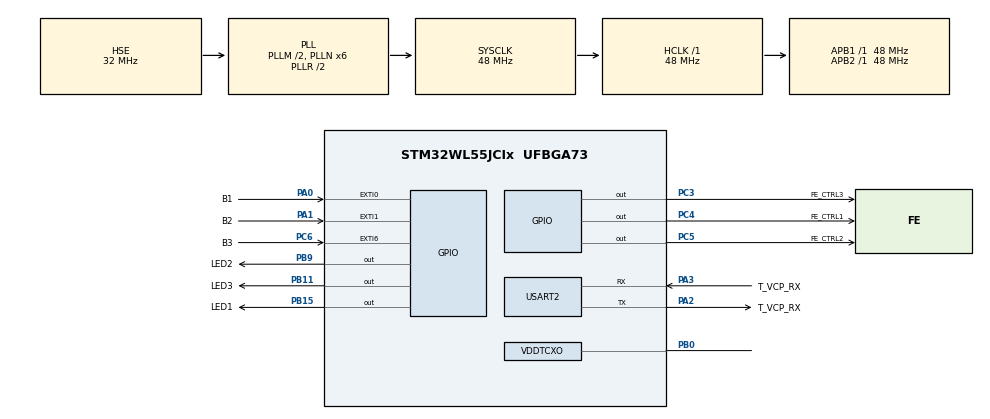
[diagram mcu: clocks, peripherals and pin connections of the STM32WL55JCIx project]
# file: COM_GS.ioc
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Dma.Request0=USART2_RX
Dma.Request1=USART2_TX
Dma.USART2_RX.0.Channel_PRIV_NPRIV=DMA_CHANNEL_NPRIV_DISABLE
Dma.USART2_RX.0.Direction=DMA_PERIPH_TO_MEMORY
Dma.USART2_RX.0.EventEnable=DISABLE
Dma.USART2_RX.0.Instance=DMA1_Channel1
Dma.USART2_RX.0.MemDataAlignment=DMA_MDATAALIGN_BYTE
Dma.USART2_RX.0.MemInc=DMA_MINC_ENABLE
Dma.USART2_RX.0.Mode=DMA_NORMAL
Dma.USART2_RX.0.PeriphDataAlignment=DMA_PDATAALIGN_BYTE
Dma.USART2_RX.0.PeriphInc=DMA_PINC_DISABLE
Dma.USART2_RX.0.Polarity=HAL_DMAMUX_REQ_GEN_RISING
Dma.USART2_RX.0.Priority=DMA_PRIORITY_LOW
Dma.USART2_RX.0.RequestNumber=1
Dma.USART2_RX.0.SignalID=NONE
Dma.USART2_RX.0.SyncEnable=DISABLE
Dma.USART2_RX.0.SyncPolarity=HAL_DMAMUX_SYNC_NO_EVENT
Dma.USART2_RX.0.SyncRequestNumber=1
Dma.USART2_RX.0.SyncSignalID=NONE
Dma.USART2_TX.1.Channel_PRIV_NPRIV=DMA_CHANNEL_NPRIV_DISABLE
Dma.USART2_TX.1.Direction=DMA_MEMORY_TO_PERIPH
Dma.USART2_TX.1.EventEnable=DISABLE
Dma.USART2_TX.1.Instance=DMA1_Channel2
Dma.USART2_TX.1.MemDataAlignment=DMA_MDATAALIGN_BYTE
Dma.USART2_TX.1.MemInc=DMA_MINC_ENABLE
Dma.USART2_TX.1.Mode=DMA_NORMAL
Dma.USART2_TX.1.PeriphDataAlignment=DMA_PDATAALIGN_BYTE
Dma.USART2_TX.1.PeriphInc=DMA_PINC_DISABLE
Dma.USART2_TX.1.Polarity=HAL_DMAMUX_REQ_GEN_RISING
Dma.USART2_TX.1.Priority=DMA_PRIORITY_LOW
Dma.USART2_TX.1.RequestNumber=1
Dma.USART2_TX.1.SignalID=NONE
Dma.USART2_TX.1.SyncEnable=DISABLE
Dma.USART2_TX.1.SyncPolarity=HAL_DMAMUX_SYNC_NO_EVENT
Dma.USART2_TX.1.SyncRequestNumber=1
Dma.USART2_TX.1.SyncSignalID=NONE
Mcu.Family=STM32WL
Mcu.Name=STM32WL55JCIx
Mcu.Package=UFBGA73
NVIC.DMA1_Channel1_IRQn=true\:0\:0\:false\:false\:true\:false\:true\:true
NVIC.DMA1_Channel2_IRQn=true\:0\:0\:false\:false\:true\:false\:true\:true
NVIC.PriorityGroup=NVIC_PRIORITYGROUP_4
NVIC.SUBGHZ_Radio_IRQn=true\:0\:0\:false\:false\:true\:true\:true\:true
NVIC.TIM1_UP_IRQn=true\:0\:0\:false\:false\:true\:true\:true\:true
NVIC.USART2_IRQn=true\:0\:0\:false\:false\:true\:true\:true\:true
OSC_IN.Mode=HSE-TCXO
OSC_IN.Signal=RCC_OSC_IN
PA0.GPIO_Label=B1
PA0.GPIO_ModeDefaultEXTI=GPIO_MODE_IT_FALLING
PA0.GPIO_PuPd=GPIO_PULLUP
PA0.Signal=GPXTI0
PA1.GPIO_Label=B2
PA1.GPIO_ModeDefaultEXTI=GPIO_MODE_IT_FALLING
PA1.GPIO_PuPd=GPIO_PULLUP
PA1.Signal=GPXTI1
PA10.Signal=USART1_RX
PA13.Mode=Serial_Wire
PA13.Signal=DEBUG_JTMS-SWDIO
PA14.Mode=Serial_Wire
PA14.Signal=DEBUG_JTCK-SWCLK
PA2.GPIO_Label=T_VCP_RX
PA2.Mode=Asynchronous
PA2.Signal=USART2_TX
PA3.GPIO_Label=T_VCP_RX
PA3.Mode=Asynchronous
PA3.Signal=USART2_RX
PA9.Signal=USART1_TX
PB0-VDD_TCXO.Mode=HSE-TCXO
PB0-VDD_TCXO.Signal=VDDTCXO
PB11.GPIO_Label=LED3
PB11.GPIO_Speed=GPIO_SPEED_FREQ_HIGH
PB11.Signal=GPIO_Output
PB15.GPIO_Label=LED1
PB15.GPIO_Speed=GPIO_SPEED_FREQ_HIGH
PB15.Signal=GPIO_Output
PB9.GPIO_FM9=__NULL
PB9.GPIO_Label=LED2
PB9.GPIO_Speed=GPIO_SPEED_FREQ_HIGH
PB9.Signal=GPIO_Output
PC14-OSC32_IN.Signal=RCC_OSC32_IN
PC15-OSC32_OUT.Signal=RCC_OSC32_OUT
PC3.GPIO_Label=FE_CTRL3
PC3.GPIO_Speed=GPIO_SPEED_FREQ_VERY_HIGH
PC3.Signal=GPIO_Output
PC4.GPIO_Label=FE_CTRL1
PC4.GPIO_Speed=GPIO_SPEED_FREQ_VERY_HIGH
PC4.Signal=GPIO_Output
PC5.GPIO_Label=FE_CTRL2
PC5.GPIO_Speed=GPIO_SPEED_FREQ_VERY_HIGH
PC5.Signal=GPIO_Output
PC6.GPIO_Label=B3
PC6.GPIO_ModeDefaultEXTI=GPIO_MODE_IT_FALLING
PC6.GPIO_PuPd=GPIO_PULLUP
PC6.Signal=GPXTI6
ProjectManager.HeapSize=0x200
ProjectManager.StackSize=0x400
ProjectManager.TargetToolchain=STM32CubeIDE
RCC.AHBFreq_Value=48000000
RCC.APB1Freq_Value=48000000
RCC.APB1TimFreq_Value=48000000
RCC.APB2Freq_Value=48000000
RCC.APB2TimFreq_Value=48000000
RCC.APB3Freq_Value=48000000
RCC.CortexFreq_Value=48000000
RCC.HCLKFreq_Value=48000000
RCC.HSE_VALUE=32000000
RCC.HSI_VALUE=16000000
RCC.LSE_VALUE=32768
RCC.PLLM=RCC_PLLM_DIV2
RCC.PLLN=6
RCC.PLLSourceVirtual=RCC_PLLSOURCE_HSE
RCC.SYSCLKFreq_VALUE=48000000
RCC.SYSCLKSource=RCC_SYSCLKSOURCE_PLLCLK
RCC.VCOOutputFreq_Value=96000000
TIM1.Period=1000-1
TIM1.Prescaler=48-1
TIM2.Period=1000001-1
TIM2.Prescaler=48
USART2.VirtualMode-Asynchronous=VM_ASYNC
VP_ADV_TRACE_VS_ADV_TRACE.Mode=ADV_TRACE_Enabled
VP_MISC_VS_MISC.Mode=MISC_Enabled
VP_SEQUENCER_M4_VS_SEQUENCER.Mode=SEQUENCER_Enabled
VP_SUBGHZ_PHY_VS_SubGhzPhy.Mode=SubGhzPhy_Enabled
VP_SUBGHZ_VS_SUBGHZ.Mode=SUBGHZ_Activate
VP_TIM1_VS_ClockSourceINT.Mode=Internal
VP_TIM2_VS_ClockSourceINT.Mode=Internal
VP_TIMER_VS_TIMER.Mode=TIMER_Enabled
VP_TINY_LPM_VS_TINY_LPM.Mode=TINY_LPM_Enabled
board=NUCLEO-WL55JC2

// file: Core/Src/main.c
/* USER CODE BEGIN Header */
/**
 ******************************************************************************
 * @file           : main.c
 * @brief          : Main program body
 ******************************************************************************
 * @attention
 *
 * Copyright (c) 2024 STMicroelectronics.
 * All rights reserved.
 *
 * This software is licensed under terms that can be found in the LICENSE file
 * in the root directory of this software component.
 * If no LICENSE file comes with this software, it is provided AS-IS.
 *
 ******************************************************************************
 */
/* USER CODE END Header */
#include "main.h"
#include "dma.h"
#include "app_subghz_phy.h"
#include "tim.h"
#include "usart.h"
#include "gpio.h"

/* USER CODE BEGIN Includes */
#include "radio_driver.h"
#include "com_debug.h"
#include "stdio.h"
#include "stdarg.h"
#include "string.h"
#include "ax25_generator.h"
/* USER CODE END Includes */

/* USER CODE BEGIN PTD */
#define PAYLOAD_LENGTH 			(103)
#define MAIN_GS_CMD_LENGTH		(13)
#define CMD_PAYLOAD				(35)

#define FREQ_435_MHZ            (435313000) // Up-link
#define FREQ_437_MHZ			(437375000)	// Down-link

#define PA_DUTY_CYCLE           (0x04)
#define HP_MAX                  (0x00)
#define PA_SEL                  (0x01)

#define POWER                   (0x0E)
#define RAMP_TIME               (0x02)

#define DEMO_DEFAULT_BR_1200            1200
#define DEMO_DEFAULT_FDEV_1200          3000

#define DEMO_DEFAULT_BR_4800            4800
#define DEMO_DEFAULT_FDEV_4800          12000
/* USER CODE END PTD */

/* USER CODE BEGIN PD */
PacketParams_t pkt_params;
ModulationParams_t mod_params;
/* USER CODE END PD */

/* USER CODE BEGIN PV */
uint8_t p_len = PAYLOAD_LENGTH;
uint8_t main_cmd_plen = MAIN_GS_CMD_LENGTH;
uint8_t tx_cmd_plen = CMD_PAYLOAD;

uint8_t rx_cmd[PAYLOAD_LENGTH];
uint8_t rx_buffer[MAIN_GS_CMD_LENGTH];
uint8_t tx_cmd[CMD_PAYLOAD];

uint8_t rssi_value = 0;

uint8_t TX_FLAG = 0;

/* USER CODE END PV */

void SystemClock_Config(void);
/* USER CODE BEGIN PFP */
void DioIrqHndlr(RadioIrqMasks_t radioIrq);
/* USER CODE END PFP */

int main(void)
{

  /* MCU Configuration--------------------------------------------------------*/

  /* Reset of all peripherals, Initializes the Flash interface and the Systick. */
  HAL_Init();

  /* Configure the system clock */
  SystemClock_Config();

  /* Initialize all configured peripherals */
  MX_GPIO_Init();
  MX_DMA_Init();
  MX_TIM1_Init();
  MX_TIM2_Init();
  MX_SubGHz_Phy_Init();
  MX_USART2_UART_Init();
  /* USER CODE BEGIN 2 */
	HAL_TIM_Base_Start(&htim2);

	myDebug("########## Slippers2Sat Ground Station: BEGIN ##########\r\n");
	myDebug("########## COMMUNICATION PARAMETERS ##########\r\n");
	myDebug("Modulation: GFSK PACKET\r\n");
	myDebug("FREQUENCY MODES: DOWNLINK FREQ: %luHz, UPLINK FREQ: %lu Hz\r\n",
	FREQ_437_MHZ, FREQ_435_MHZ);
	myDebug("STM32 BSP_SubGHz-WL Radio: Low Power\n");
	myDebug("POWER CONFIG:::: \n"
			"\t PA_DUTY_CYCLE: %x, HP_MAX: %x, PA_SEL: %x, POWER TX: %u dBm\r\n",
	PA_DUTY_CYCLE, HP_MAX, PA_SEL, POWER);

	myDebug("\n########## Operation Starts ##########\r\n");
	myDebug("________________Waiting Beacon Type_1 ____________\r\n");

	pkt_params.PacketType = PACKET_TYPE_GFSK;
	pkt_params.Params.Gfsk.PayloadLength = PAYLOAD_LENGTH;
	pkt_params.Params.Gfsk.PreambleLength = 8; /*Convert byte into bit*/
	pkt_params.Params.Gfsk.PreambleMinDetect = RADIO_PREAMBLE_DETECTOR_08_BITS;
	pkt_params.Params.Gfsk.SyncWordLength = 3 << 3; // convert byte into bit
	pkt_params.Params.Gfsk.AddrComp = RADIO_ADDRESSCOMP_FILT_OFF;
	pkt_params.Params.Gfsk.HeaderType = RADIO_PACKET_FIXED_LENGTH;
	pkt_params.Params.Gfsk.CrcLength = RADIO_CRC_2_BYTES_CCIT;
	pkt_params.Params.Gfsk.DcFree = RADIO_DC_FREEWHITENING;

	mod_params.PacketType = PACKET_TYPE_GFSK;
	mod_params.Params.Gfsk.Bandwidth = RX_BW_29300; /*Not used in TX*/
	mod_params.Params.Gfsk.BitRate = DEMO_DEFAULT_BR_4800;
	mod_params.Params.Gfsk.Fdev = DEMO_DEFAULT_FDEV_4800;
	mod_params.Params.Gfsk.ModulationShaping = MOD_SHAPING_G_BT_1;

	SUBGRF_Init(DioIrqHndlr);
	SUBGRF_SetBufferBaseAddress(0x00, 0x00);

	SUBGRF_SetPacketParams(&pkt_params);
	SUBGRF_SetSyncWord(( uint8_t[] ) { 0xC1, 0x94, 0xC1, 0x00, 0x00, 0x00, 0x00,
					0x00 });
	SUBGRF_SetWhiteningSeed(0x01FF);
	SUBGRF_SetRfFrequency(FREQ_437_MHZ);
	SUBGRF_SetPaConfig(PA_DUTY_CYCLE, HP_MAX, PA_SEL, 0x01);
	//SUBGRF_SetTxParams(RFO_HP, POWER, RAMP_TIME);
	SUBGRF_SetTxParams(RFO_LP, POWER, RAMP_TIME);
	SUBGRF_SetModulationParams(&mod_params);
	SUBGRF_SetDioIrqParams(
			IRQ_TX_DONE | IRQ_PREAMBLE_DETECTED | IRQ_RX_DONE
					| IRQ_RX_TX_TIMEOUT | IRQ_SYNCWORD_VALID,
			IRQ_TX_DONE | IRQ_PREAMBLE_DETECTED | IRQ_RX_DONE
					| IRQ_RX_TX_TIMEOUT | IRQ_SYNCWORD_VALID, IRQ_RADIO_NONE,
			IRQ_RADIO_NONE);

	myDebug("\n########## RX Configuration: ##########\n");

	myDebug("FREQUENCY MODS: Downlink FREQ: %lu Hz\r\n", FREQ_437_MHZ);
	myDebug("Bit Rate: 	%d\n\r", mod_params.Params.Gfsk.BitRate);
	myDebug("Frequency Deviation: 	%d\n\r", mod_params.Params.Gfsk.Fdev);
	myDebug("RECEVING BANDWIDTH: 	%d\n\r", mod_params.Params.Gfsk.Bandwidth);
	myDebug("Packet Type 			%d\n\r", pkt_params.PacketType);
	myDebug("PayloadLength 			%d\n\r", pkt_params.Params.Gfsk.PayloadLength);
	myDebug("PreambleLength 		%d\n\r", pkt_params.Params.Gfsk.PreambleLength);
	myDebug("PreambleMinDetect		%d\n\r",
			pkt_params.Params.Gfsk.PreambleMinDetect);
	myDebug("HeaderType 			%d\n\r", pkt_params.Params.Gfsk.HeaderType);
	myDebug("______________*******************______________\r\n");

	SUBGRF_SetRfFrequency(FREQ_437_MHZ);
	SUBGRF_SetSwitch(RFO_LP, RFSWITCH_RX); /*Set RF switch*/
	SUBGRF_SetRxBoosted(0xFFFFFF);

	HAL_GPIO_WritePin(GPIOB, LED1_Pin, GPIO_PIN_SET);
	delay_us(500000);  // 500ms delay
	HAL_GPIO_WritePin(GPIOB, LED1_Pin, GPIO_PIN_RESET);
	delay_us(500000);

  /* USER CODE END 2 */

  /* Infinite loop */
  /* USER CODE BEGIN WHILE */
	while (1) {
		HAL_GPIO_WritePin(GPIOB, LED1_Pin, GPIO_PIN_RESET);
		delay_us(500000);
		HAL_GPIO_WritePin(GPIOB, LED1_Pin, GPIO_PIN_SET);
		delay_us(500000);

		if (TX_FLAG) {

			AX_25PacketFormation(rx_buffer);

			memset(rx_buffer, '\0', sizeof(rx_buffer));

			pkt_params.PacketType = PACKET_TYPE_GFSK;
			pkt_params.Params.Gfsk.PayloadLength = CMD_PAYLOAD;
			pkt_params.Params.Gfsk.PreambleLength = 8; /*Convert byte into bit*/
			pkt_params.Params.Gfsk.PreambleMinDetect =
					RADIO_PREAMBLE_DETECTOR_08_BITS;
			pkt_params.Params.Gfsk.SyncWordLength = 3 << 3; // convert byte into bit
			pkt_params.Params.Gfsk.AddrComp = RADIO_ADDRESSCOMP_FILT_OFF;
			pkt_params.Params.Gfsk.HeaderType = RADIO_PACKET_FIXED_LENGTH;
			pkt_params.Params.Gfsk.CrcLength = RADIO_CRC_2_BYTES_CCIT;
			pkt_params.Params.Gfsk.DcFree = RADIO_DC_FREEWHITENING;

			mod_params.PacketType = PACKET_TYPE_GFSK;
			mod_params.Params.Gfsk.Bandwidth = RX_BW_29300; /*Not used in TX*/
			mod_params.Params.Gfsk.BitRate = DEMO_DEFAULT_BR_1200;
			mod_params.Params.Gfsk.Fdev = DEMO_DEFAULT_FDEV_1200;
			mod_params.Params.Gfsk.ModulationShaping = MOD_SHAPING_G_BT_1;

			SUBGRF_Init(DioIrqHndlr);
			SUBGRF_SetBufferBaseAddress(0x00, 0x00);
			SUBGRF_SetPayload(tx_cmd, CMD_PAYLOAD);
			SUBGRF_SetPacketParams(&pkt_params);
			SUBGRF_SetSyncWord(( uint8_t[] ) { 0xC1, 0x94, 0xC1, 0x00, 0x00,
							0x00, 0x00, 0x00 });
			SUBGRF_SetWhiteningSeed(0x01FF);
			SUBGRF_SetRfFrequency(FREQ_435_MHZ);
			SUBGRF_SetPaConfig(PA_DUTY_CYCLE, HP_MAX, PA_SEL, 0x01);
			//SUBGRF_SetTxParams(RFO_HP, POWER, RAMP_TIME);
			SUBGRF_SetTxParams(RFO_LP, POWER, RAMP_TIME);
			SUBGRF_SetModulationParams(&mod_params);
			SUBGRF_SetDioIrqParams(
					IRQ_TX_DONE | IRQ_PREAMBLE_DETECTED | IRQ_RX_DONE
							| IRQ_RX_TX_TIMEOUT | IRQ_SYNCWORD_VALID,
					IRQ_TX_DONE | IRQ_PREAMBLE_DETECTED | IRQ_RX_DONE
							| IRQ_RX_TX_TIMEOUT | IRQ_SYNCWORD_VALID,
					IRQ_RADIO_NONE, IRQ_RADIO_NONE);

			myDebug("########## TX Configuration: ##########\n");

			myDebug("FREQUENCY MODS: UPLINK FREQ: %lu Hz\r\n", FREQ_435_MHZ);
			myDebug("Bit Rate: 	%d\n\r", mod_params.Params.Gfsk.BitRate);
			myDebug("Frequency Deviation: 	%d\n\r",
					mod_params.Params.Gfsk.Fdev);
			myDebug("RECEVING BANDWIDTH: 	%d\n\r",
					mod_params.Params.Gfsk.Bandwidth);
			myDebug("Packet Type 			%d\n\r", pkt_params.PacketType);
			myDebug("PayloadLength 			%d\n\r",
					pkt_params.Params.Gfsk.PayloadLength);
			myDebug("PreambleLength 		%d\n\r",
					pkt_params.Params.Gfsk.PreambleLength);
			myDebug("PreambleMinDetect		%d\n\r",
					pkt_params.Params.Gfsk.PreambleMinDetect);
			myDebug("HeaderType 			%d\n\r", pkt_params.Params.Gfsk.HeaderType);
			myDebug("______________*******************______________\r\n");

			SUBGRF_SetRfFrequency(FREQ_435_MHZ);
			SUBGRF_SetSwitch(RFO_LP, RFSWITCH_TX); /*Set RF switch*/
			SUBGRF_SendPayload(tx_cmd, CMD_PAYLOAD, 0);
		}

    /* USER CODE END WHILE */
    MX_SubGHz_Phy_Process();

	}
}

void SystemClock_Config(void)
{
  RCC_OscInitTypeDef RCC_OscInitStruct = {0};
  RCC_ClkInitTypeDef RCC_ClkInitStruct = {0};

  /** Configure the main internal regulator output voltage
  */
  __HAL_PWR_VOLTAGESCALING_CONFIG(PWR_REGULATOR_VOLTAGE_SCALE1);

  /** Initializes the CPU, AHB and APB buses clocks
  */
  RCC_OscInitStruct.OscillatorType = RCC_OSCILLATORTYPE_HSE;
  RCC_OscInitStruct.HSEState = RCC_HSE_BYPASS_PWR;
  RCC_OscInitStruct.HSEDiv = RCC_HSE_DIV1;
  RCC_OscInitStruct.PLL.PLLState = RCC_PLL_ON;
  RCC_OscInitStruct.PLL.PLLSource = RCC_PLLSOURCE_HSE;
  RCC_OscInitStruct.PLL.PLLM = RCC_PLLM_DIV2;
  RCC_OscInitStruct.PLL.PLLN = 6;
  RCC_OscInitStruct.PLL.PLLP = RCC_PLLP_DIV2;
  RCC_OscInitStruct.PLL.PLLR = RCC_PLLR_DIV2;
  RCC_OscInitStruct.PLL.PLLQ = RCC_PLLQ_DIV2;
  if (HAL_RCC_OscConfig(&RCC_OscInitStruct) != HAL_OK)
  {
    Error_Handler();
  }

  /** Configure the SYSCLKSource, HCLK, PCLK1 and PCLK2 clocks dividers
  */
  RCC_ClkInitStruct.ClockType = RCC_CLOCKTYPE_HCLK3|RCC_CLOCKTYPE_HCLK
                              |RCC_CLOCKTYPE_SYSCLK|RCC_CLOCKTYPE_PCLK1
                              |RCC_CLOCKTYPE_PCLK2;
  RCC_ClkInitStruct.SYSCLKSource = RCC_SYSCLKSOURCE_PLLCLK;
  RCC_ClkInitStruct.AHBCLKDivider = RCC_SYSCLK_DIV1;
  RCC_ClkInitStruct.APB1CLKDivider = RCC_HCLK_DIV1;
  RCC_ClkInitStruct.APB2CLKDivider = RCC_HCLK_DIV1;
  RCC_ClkInitStruct.AHBCLK3Divider = RCC_SYSCLK_DIV1;

  if (HAL_RCC_ClockConfig(&RCC_ClkInitStruct, FLASH_LATENCY_2) != HAL_OK)
  {
    Error_Handler();
  }
}

/* USER CODE BEGIN 4 */

void HAL_UART_RxCpltCallback(UART_HandleTypeDef *huart) {
	if (huart == &huart2) {
		myDebug("\n-->Main command Received: 0x%x\r\n", rx_buffer);
		for (int i = 0; i < sizeof(rx_buffer); i++) {
			myDebug("%02x ", rx_buffer[i]);
		}
		myDebug("\r\n");

		TX_FLAG = 1;
	}
}

void DioIrqHndlr(RadioIrqMasks_t radioIrq) {
	if (radioIrq == IRQ_RX_DONE) {
		SUBGRF_GetPayload(rx_cmd, &p_len, PAYLOAD_LENGTH);
		rssi_value = SUBGRF_GetRssiInst();
		myDebug("Satellite Data Received: 0x%x\r\n");
		for (int i = 0; i < sizeof(rx_cmd); i++) {
			myDebug("%02x ", rx_cmd[i]);
		}
		myDebug("\r\n");

		memset(rx_cmd, '\0', sizeof(rx_cmd));

		delay_us(500000);

		myDebug("\n########## RX Configuration: ##########\n");
		myDebug("FREQUENCY MODS: DOWNLINK FREQ: %lu Hz\r\n", FREQ_437_MHZ);
		myDebug("Bit Rate: 	%d\n\r", mod_params.Params.Gfsk.BitRate);
		myDebug("Frequency Deviation: 	%d\n\r", mod_params.Params.Gfsk.Fdev);
		myDebug("RECEVING BANDWIDTH: 	%d\n\r",
				mod_params.Params.Gfsk.Bandwidth);
		myDebug("Packet Type 			%d\n\r", pkt_params.PacketType);
		myDebug("PayloadLength 			%d\n\r",
				pkt_params.Params.Gfsk.PayloadLength);
		myDebug("PreambleLength 		%d\n\r",
				pkt_params.Params.Gfsk.PreambleLength);
		myDebug("PreambleMinDetect		%d\n\r",
				pkt_params.Params.Gfsk.PreambleMinDetect);
		myDebug("HeaderType 			%d\n\r", pkt_params.Params.Gfsk.HeaderType);
		myDebug("______________*******************______________\r\n");
		myDebug("\n_____Satellite Receiver_____OR_____Command Transmitter_____\r\n");

		SUBGRF_SetRfFrequency(FREQ_437_MHZ);
		SUBGRF_SetSwitch(RFO_LP, RFSWITCH_RX); /*Set RF switch*/
		SUBGRF_SetRxBoosted(0xFFFFFF);

		HAL_UART_Receive_DMA(&huart2, rx_buffer, main_cmd_plen);

	} else if (radioIrq == IRQ_TX_DONE) {
		TX_FLAG = 0;
		myDebug("\n\rS2S Command Transmitted Successful:\r\n");
		for (int i = 0; i < sizeof(tx_cmd); i++) {
			myDebug("%02x ", tx_cmd[i]);
		}
		myDebug("\r\n");

		memset(tx_cmd, '\0', sizeof(tx_cmd));

		delay_us(500000);

		pkt_params.PacketType = PACKET_TYPE_GFSK;
		pkt_params.Params.Gfsk.PayloadLength = PAYLOAD_LENGTH;
		pkt_params.Params.Gfsk.PreambleLength = 8; /*Convert byte into bit*/
		pkt_params.Params.Gfsk.PreambleMinDetect =
				RADIO_PREAMBLE_DETECTOR_08_BITS;
		pkt_params.Params.Gfsk.SyncWordLength = 3 << 3; // convert byte into bit
		pkt_params.Params.Gfsk.AddrComp = RADIO_ADDRESSCOMP_FILT_OFF;
		pkt_params.Params.Gfsk.HeaderType = RADIO_PACKET_FIXED_LENGTH;
		pkt_params.Params.Gfsk.CrcLength = RADIO_CRC_2_BYTES_CCIT;
		pkt_params.Params.Gfsk.DcFree = RADIO_DC_FREEWHITENING;

		mod_params.PacketType = PACKET_TYPE_GFSK;
		mod_params.Params.Gfsk.Bandwidth = RX_BW_29300; /*Not used in TX*/
		mod_params.Params.Gfsk.BitRate = DEMO_DEFAULT_BR_4800;
		mod_params.Params.Gfsk.Fdev = DEMO_DEFAULT_FDEV_4800;
		mod_params.Params.Gfsk.ModulationShaping = MOD_SHAPING_G_BT_1;

		myDebug("\n########## RX Configuration: ##########\n");
		myDebug("FREQUENCY MODS: UPLINK FREQ: %lu Hz\r\n", FREQ_435_MHZ);
		myDebug("Bit Rate: 	%d\n\r", mod_params.Params.Gfsk.BitRate);
		myDebug("Frequency Deviation: 	%d\n\r", mod_params.Params.Gfsk.Fdev);
		myDebug("RECEVING BANDWIDTH: 	%d\n\r",
				mod_params.Params.Gfsk.Bandwidth);
		myDebug("Packet Type 			%d\n\r", pkt_params.PacketType);
		myDebug("PayloadLength 			%d\n\r",
				pkt_params.Params.Gfsk.PayloadLength);
		myDebug("PreambleLength 		%d\n\r",
				pkt_params.Params.Gfsk.PreambleLength);
		myDebug("PreambleMinDetect		%d\n\r",
				pkt_params.Params.Gfsk.PreambleMinDetect);
		myDebug("HeaderType 			%d\n\r", pkt_params.Params.Gfsk.HeaderType);
		myDebug("______________*******************______________\r\n");
		myDebug("\n_____Satellite Receiver_____OR_____Command Transmitter_____\r\n");

		SUBGRF_Init(DioIrqHndlr);
		SUBGRF_SetBufferBaseAddress(0x00, 0x00);
		SUBGRF_SetPacketParams(&pkt_params);
		SUBGRF_SetSyncWord(( uint8_t[] ) { 0xC1, 0x94, 0xC1, 0x00, 0x00, 0x00,
						0x00, 0x00 });
		SUBGRF_SetWhiteningSeed(0x01FF);
		SUBGRF_SetRfFrequency(FREQ_437_MHZ);
		SUBGRF_SetPaConfig(PA_DUTY_CYCLE, HP_MAX, PA_SEL, 0x01);
		//SUBGRF_SetTxParams(RFO_HP, POWER, RAMP_TIME);
		SUBGRF_SetTxParams(RFO_LP, POWER, RAMP_TIME);
		SUBGRF_SetModulationParams(&mod_params);
		SUBGRF_SetDioIrqParams(
				IRQ_TX_DONE | IRQ_PREAMBLE_DETECTED | IRQ_RX_DONE
						| IRQ_RX_TX_TIMEOUT | IRQ_SYNCWORD_VALID,
				IRQ_TX_DONE | IRQ_PREAMBLE_DETECTED | IRQ_RX_DONE
						| IRQ_RX_TX_TIMEOUT | IRQ_SYNCWORD_VALID,
				IRQ_RADIO_NONE, IRQ_RADIO_NONE);

		SUBGRF_SetRfFrequency(FREQ_437_MHZ);
		SUBGRF_SetSwitch(RFO_LP, RFSWITCH_RX); /*Set RF switch*/
		SUBGRF_SetRxBoosted(0xFFFFFF);

		HAL_GPIO_WritePin(GPIOB, LED1_Pin, GPIO_PIN_SET);
		delay_us(500000);  // 500ms delay
		HAL_GPIO_WritePin(GPIOB, LED1_Pin, GPIO_PIN_RESET);
		delay_us(500000);

		HAL_UART_Receive_DMA(&huart2, rx_buffer, main_cmd_plen);
	}
}
/* USER CODE END 4 */

void Error_Handler(void)
{
	__disable_irq();
	while (1) {
	}
}
